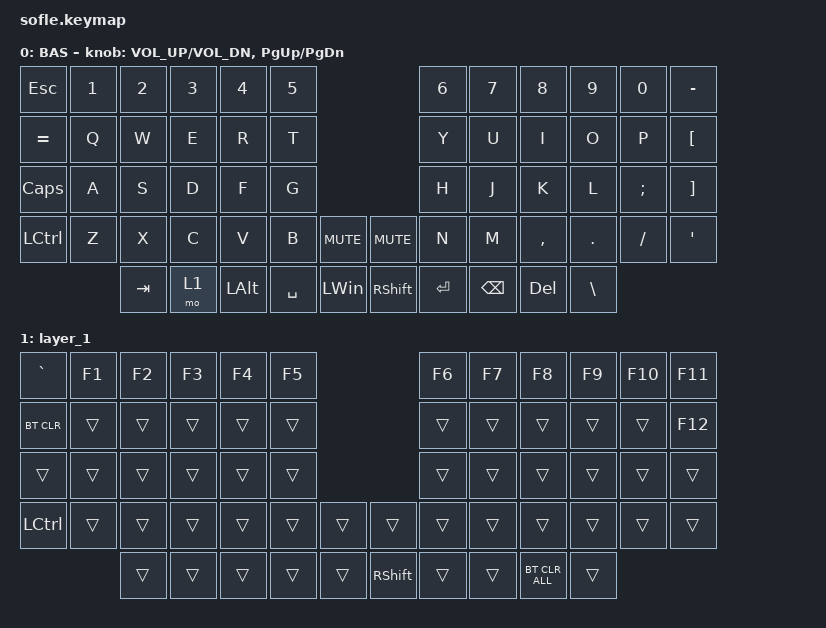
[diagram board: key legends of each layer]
/*
 * Copyright (c) 2020 The ZMK Contributors
 *
 * SPDX-License-Identifier: MIT
 */

#include <behaviors.dtsi>
#include <dt-bindings/zmk/bt.h>
#include <dt-bindings/zmk/keys.h>

/ {
    keymap {
        compatible = "zmk,keymap";

        default_layer {
            display-name = "BAS";

            // ------------------------------------------------------------------------------------------------------------
            // |  `    |  1  |  2  |  3   |  4   |  5   |                   |  6   |  7    |  8    |  9   |   0   |       |
            // |  ESC  |  Q  |  W  |  E   |  R   |  T   |                   |  Y   |  U    |  I    |  O   |   P   | BKSPC |
            // |  TAB  |  A  |  S  |  D   |  F   |  G   |                   |  H   |  J    |  K    |  L   |   ;   |   '   |
            // | SHIFT |  Z  |  X  |  C   |  V   |  B   |  MUTE  |  |       |  N   |  M    |  ,    |  .   |   /   | SHIFT |
            //               | GUI | ALT  | CTRL | LOWER|  ENTER |  | SPACE | RAISE| CTRL  | ALT   | GUI  |

            bindings = <
&kp ESCAPE    &kp N1  &kp N2   &kp N3  &kp N4    &kp N5                                      &kp N6     &kp N7         &kp N8      &kp N9         &kp N0    &kp MINUS
&kp EQUAL     &kp Q   &kp W    &kp E   &kp R     &kp T                                       &kp Y      &kp U          &kp I       &kp O          &kp P     &kp LEFT_BRACKET
&kp CAPSLOCK  &kp A   &kp S    &kp D   &kp F     &kp G                                       &kp H      &kp J          &kp K       &kp L          &kp SEMI  &kp RIGHT_BRACKET
&kp LCTRL     &kp Z   &kp X    &kp C   &kp V     &kp B      &kp C_MUTE      &kp C_MUTE       &kp N      &kp M          &kp COMMA   &kp DOT        &kp FSLH  &kp SINGLE_QUOTE
                      &kp TAB  &mo 1   &kp LALT  &kp SPACE  &kp LEFT_WIN    &kp RIGHT_SHIFT  &kp ENTER  &kp BACKSPACE  &kp DELETE  &kp BACKSLASH
            >;

            sensor-bindings = <&inc_dec_kp C_VOL_UP C_VOL_DN &inc_dec_kp PG_UP PG_DN>;
        };

        layer_1 {
            bindings = <
&kp GRAVE   &kp F1  &kp F2  &kp F3  &kp F4  &kp F5                       &kp F6  &kp F7  &kp F8          &kp F9  &kp F10  &kp F11
&bt BT_CLR  &trans  &trans  &trans  &trans  &trans                       &trans  &trans  &trans          &trans  &trans   &kp F12
&trans      &trans  &trans  &trans  &trans  &trans                       &trans  &trans  &trans          &trans  &trans   &trans
&kp LCTRL   &trans  &trans  &trans  &trans  &trans  &trans    &trans     &trans  &trans  &trans          &trans  &trans   &trans
                    &trans  &trans  &trans  &trans  &trans    &kp RSHFT  &trans  &trans  &bt BT_CLR_ALL  &trans
            >;
        };
    };
};
